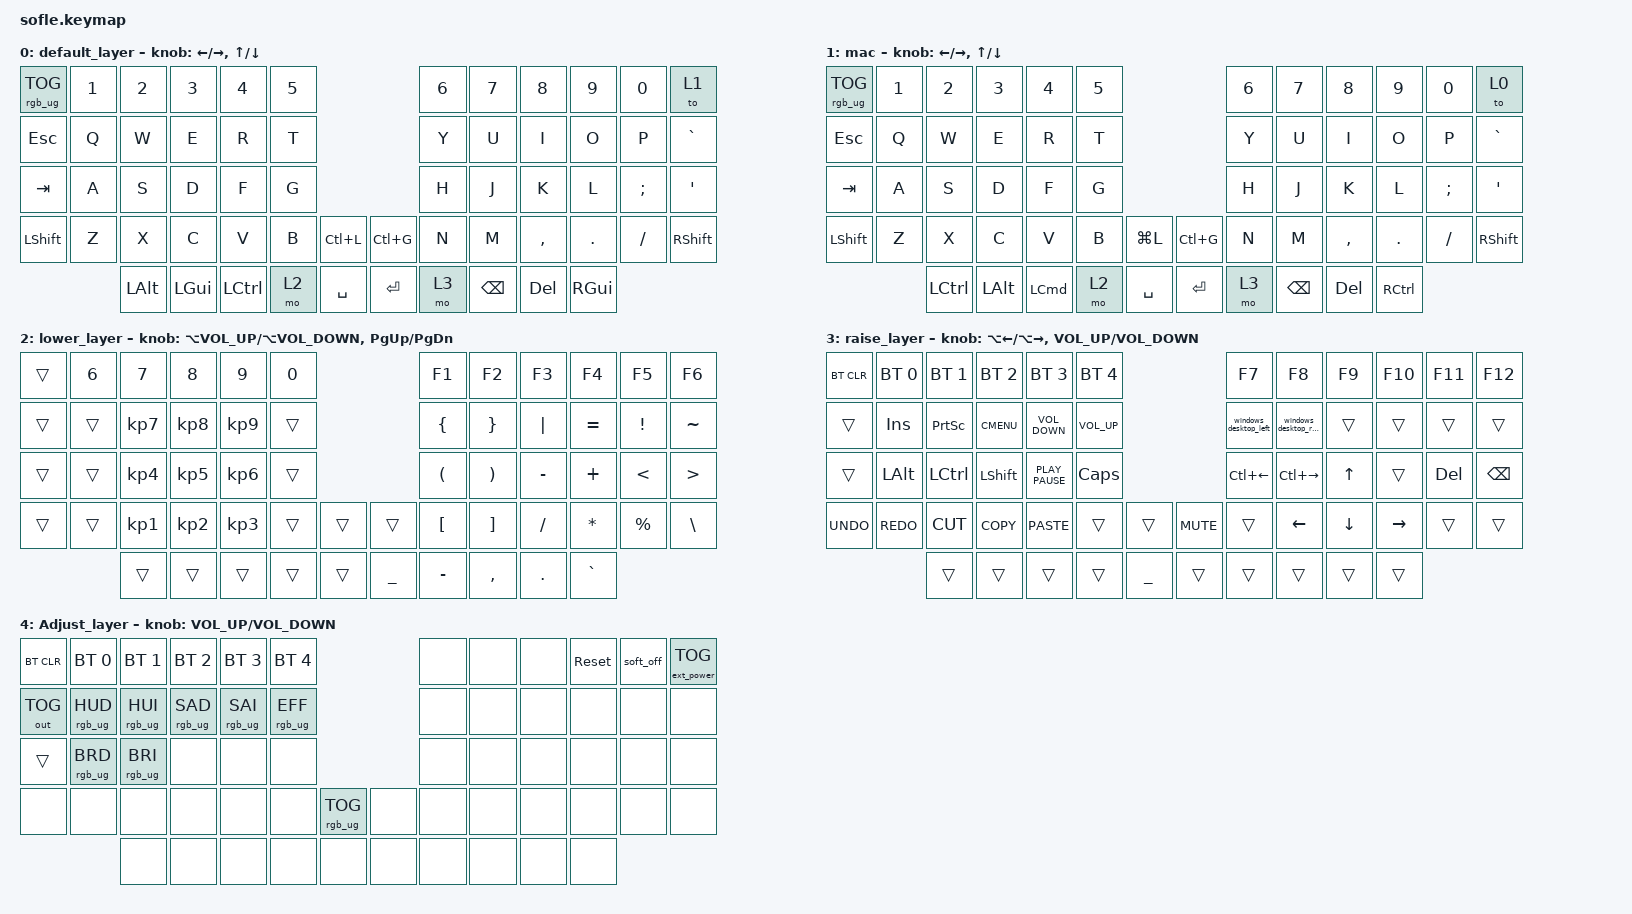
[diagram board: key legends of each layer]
/*
 * Copyright (c) 2020 The ZMK Contributors
 *
 * SPDX-License-Identifier: MIT
 */

#include <behaviors.dtsi>
#include <dt-bindings/zmk/bt.h>
#include <dt-bindings/zmk/ext_power.h>
#include <dt-bindings/zmk/keys.h>
#include <dt-bindings/zmk/outputs.h>
#include <dt-bindings/zmk/rgb.h>

#define BASE 0
#define LOWER 1
#define RAISE 2
#define ADJUST 3

/ {
    // Activate ADJUST layer by pressing raise and lower

    conditional_layers {
        compatible = "zmk,conditional-layers";

        adjust_layer {
            if-layers = <2 3>;
            then-layer = <4>;
        };
    };

    macros {
        windows_desktop_left: mac_desktop_left {
            compatible = "zmk,behavior-macro";
            #binding-cells = <0>;
            bindings = <&kp LEFT_WIN &kp LCTRL &kp LEFT_ARROW>;
            label = "MAC_DESKTOP_LEFT";
        };

        windows_desktop_right: mac_desktop_right {
            compatible = "zmk,behavior-macro";
            #binding-cells = <0>;
            bindings = <&kp LEFT_WIN &kp LEFT_CONTROL &kp RIGHT>;
            label = "MAC_DESKTOP_RIGHT";
        };
    };

    keymap {
        compatible = "zmk,keymap";

        default_layer {
            // ------------------------------------------------------------------------------------------------------------
            // |  `    |  1  |  2  |  3   |  4   |  5   |                   |  6   |  7    |  8    |  9   |   0   |       |
            // |  ESC  |  Q  |  W  |  E   |  R   |  T   |                   |  Y   |  U    |  I    |  O   |   P   | BKSPC |
            // |  TAB  |  A  |  S  |  D   |  F   |  G   |                   |  H   |  J    |  K    |  L   |   ;   |   '   |
            // | SHIFT |  Z  |  X  |  C   |  V   |  B   |  MUTE  |  |       |  N   |  M    |  ,    |  .   |   /   | SHIFT |
            //               | GUI | ALT  | CTRL | LOWER|  ENTER |  | SPACE | RAISE| CTRL  | ALT   | GUI  |

            bindings = <
&rgb_ug RGB_TOG  &kp N1  &kp N2    &kp N3    &kp N4     &kp N5                          &kp N6  &kp N7         &kp N8     &kp N9         &kp N0    &to 1
&kp ESCAPE       &kp Q   &kp W     &kp E     &kp R      &kp T                           &kp Y   &kp U          &kp I      &kp O          &kp P     &kp GRAVE
&kp TAB          &kp A   &kp S     &kp D     &kp F      &kp G                           &kp H   &kp J          &kp K      &kp L          &kp SEMI  &kp SQT
&kp LEFT_SHIFT   &kp Z   &kp X     &kp C     &kp V      &kp B   &kp LC(L)    &kp LC(G)  &kp N   &kp M          &kp COMMA  &kp DOT        &kp FSLH  &kp RSHFT
                         &kp LALT  &kp LGUI  &kp LCTRL  &mo 2   &kp SPACE    &kp RET    &mo 3   &kp BACKSPACE  &kp DEL    &kp RIGHT_GUI
            >;

            sensor-bindings =
                <&inc_dec_kp LEFT_ARROW RIGHT_ARROW>,
                <&inc_dec_kp UP DOWN>;
        };

        mac {
            bindings = <
&rgb_ug RGB_TOG  &kp N1  &kp N2     &kp N3    &kp N4    &kp N5                          &kp N6  &kp N7         &kp N8     &kp N9     &kp N0    &to 0
&kp ESCAPE       &kp Q   &kp W      &kp E     &kp R     &kp T                           &kp Y   &kp U          &kp I      &kp O      &kp P     &kp GRAVE
&kp TAB          &kp A   &kp S      &kp D     &kp F     &kp G                           &kp H   &kp J          &kp K      &kp L      &kp SEMI  &kp SQT
&kp LEFT_SHIFT   &kp Z   &kp X      &kp C     &kp V     &kp B   &kp LG(L)    &kp LC(G)  &kp N   &kp M          &kp COMMA  &kp DOT    &kp FSLH  &kp RSHFT
                         &kp LCTRL  &kp LALT  &kp LCMD  &mo 2   &kp SPACE    &kp RET    &mo 3   &kp BACKSPACE  &kp DEL    &kp RCTRL
            >;

            sensor-bindings =
                <&inc_dec_kp LEFT_ARROW RIGHT>,
                <&inc_dec_kp UP DOWN>;
        };

        lower_layer {
            // TODO: Some binds are waiting for shifted keycode support.
            // ------------------------------------------------------------------------------------------------------------
            // |       |  F1 |  F2 |  F3  |  F4  |  F5  |                   |  F6  |  F7   |  F8   |  F9  |  F10  |  F11  |
            // | `     |   1 |   2 |   3  |   4  |   5  |                   |   6  |   7   |   8   |   9  |    0  |  F12  |
            // |       |  !  |  @  |  #   |  $   |  %   |                   |  ^   |  &    |  *    |  (   |   )   |   |   |
            // |       |  =  |  -  |  +   |  {   |  }   |        |  |       |  [   |  ]    |  ;    |  :   |   \   |       |
            //               |     |      |      |      |        |  |       |      |       |       |      |

            bindings = <
&trans  &kp NUMBER_6  &kp NUMBER_7     &kp NUMBER_8     &kp N9           &kp N0                            &kp F1                &kp F2                 &kp F3      &kp F4        &kp F5           &kp F6
&trans  &trans        &kp KP_NUMBER_7  &kp KP_NUMBER_8  &kp KP_NUMBER_9  &trans                            &kp LEFT_BRACE        &kp RIGHT_BRACE        &kp PIPE    &kp EQUAL     &kp EXCLAMATION  &kp TILDE
&trans  &trans        &kp KP_NUMBER_4  &kp KP_NUMBER_5  &kp KP_NUMBER_6  &trans                            &kp LEFT_PARENTHESIS  &kp RIGHT_PARENTHESIS  &kp MINUS   &kp PLUS      &kp LESS_THAN    &kp GREATER_THAN
&trans  &trans        &kp KP_NUMBER_1  &kp KP_NUMBER_2  &kp KP_NUMBER_3  &trans  &trans    &trans          &kp LBKT              &kp RBKT               &kp SLASH   &kp ASTERISK  &kp PERCENT      &kp BACKSLASH
                      &trans           &trans           &trans           &trans  &trans    &kp UNDERSCORE  &kp MINUS             &kp COMMA              &kp PERIOD  &kp GRAVE
            >;

            sensor-bindings =
                <&inc_dec_kp LA(C_VOLUME_UP) LA(C_VOLUME_DOWN)>,
                <&inc_dec_kp PAGE_UP PAGE_DOWN>;
        };

        raise_layer {
            // ------------------------------------------------------------------------------------------------------------
            // |BTCLR| BT1  | BT2  |  BT3  |  BT4  |  BT5 |                |      |      |       |      |       |       |
            // |     | INS  | PSCR | GUI   |       |      |                | PGUP |      |   ^   |      |       |       |
            // |     | ALT  | CTRL | SHIFT |       | CAPS |                | PGDN |   <- |   v   |  ->  |  DEL  | BKSPC |
            // |     | UNDO | CUT  | COPY  | PASTE |      |      |  |      |      |      |       |      |       |       |
            //              |      |       |       |      |      |  |      |      |      |       |      |

            bindings = <
&bt BT_CLR  &bt BT_SEL 0  &bt BT_SEL 1  &bt BT_SEL 2  &bt BT_SEL 3       &bt BT_SEL 4                                   &kp F7                 &kp F8                  &kp F9        &kp F10    &kp F11  &kp F12
&trans      &kp INS       &kp PSCRN     &kp K_CMENU   &kp C_VOLUME_DOWN  &kp C_VOLUME_UP                                &windows_desktop_left  &windows_desktop_right  &trans        &trans     &trans   &trans
&trans      &kp LALT      &kp LCTRL     &kp LSHFT     &kp K_PLAY_PAUSE   &kp CLCK                                       &kp LC(LEFT_ARROW)     &kp LC(RIGHT)           &kp UP_ARROW  &trans     &kp DEL  &kp BSPC
&kp K_UNDO  &kp K_REDO    &kp K_CUT     &kp K_COPY    &kp K_PASTE        &trans           &trans            &kp C_MUTE  &trans                 &kp LEFT_ARROW          &kp DOWN      &kp RIGHT  &trans   &trans
                          &trans        &trans        &trans             &trans           &kp UNDERSCORE    &trans      &trans                 &trans                  &trans        &trans
            >;

            sensor-bindings =
                <&inc_dec_kp LA(LEFT) LA(RIGHT)>,
                <&inc_dec_kp C_VOLUME_UP C_VOLUME_DOWN>;
        };

        Adjust_layer {
            bindings = <
&bt BT_CLR    &bt BT_SEL 0     &bt BT_SEL 1     &bt BT_SEL 2     &bt BT_SEL 3     &bt BT_SEL 4                               &none  &none  &none  &sys_reset  &soft_off  &ext_power EP_TOG
&out OUT_TOG  &rgb_ug RGB_HUD  &rgb_ug RGB_HUI  &rgb_ug RGB_SAD  &rgb_ug RGB_SAI  &rgb_ug RGB_EFF                            &none  &none  &none  &none       &none      &none
&trans        &rgb_ug RGB_BRD  &rgb_ug RGB_BRI  &none            &none            &none                                      &none  &none  &none  &none       &none      &none
&none         &none            &none            &none            &none            &none            &rgb_ug RGB_TOG    &none  &none  &none  &none  &none       &none      &none
                               &none            &none            &none            &none            &none              &none  &none  &none  &none  &none
            >;

            sensor-bindings = <&inc_dec_kp C_VOLUME_UP C_VOLUME_DOWN>;
        };
    };
};
